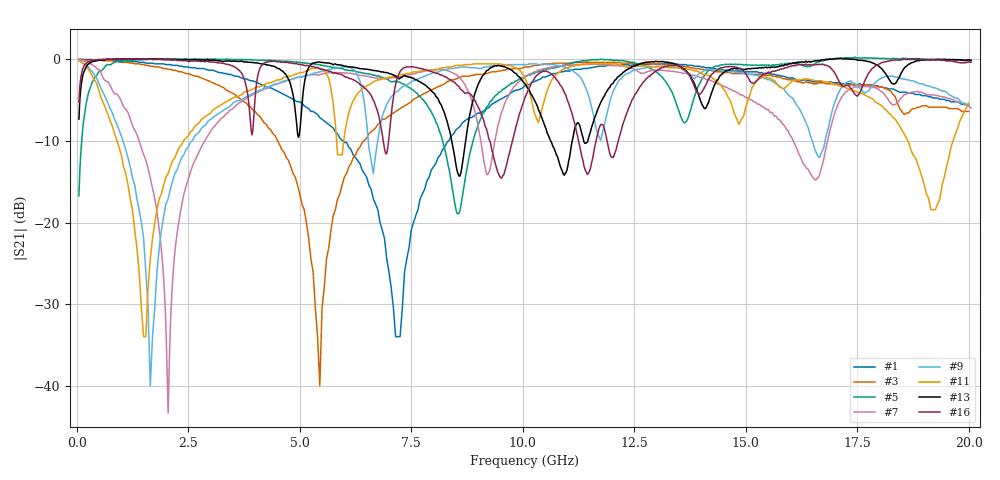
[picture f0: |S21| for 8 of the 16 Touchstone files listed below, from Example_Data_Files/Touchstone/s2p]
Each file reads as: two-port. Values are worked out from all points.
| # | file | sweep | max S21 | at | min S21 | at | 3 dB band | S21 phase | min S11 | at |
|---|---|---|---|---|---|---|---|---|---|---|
| 1 | L-15C2N7_SER.s2p | 50 MHz to 20 GHz | 0.00 dB | 50 MHz | -34.0 dB | 7.15 GHz | 10.2 GHz-17.35 GHz | 20 deg at 10.05 GHz | -40.0 dB | 50 MHz |
| 2 | L-15C3N3_SER.s2p | 50 MHz to 20 GHz | -0.09 dB | 50 MHz | -40.0 dB | 6.45 GHz | 9.65 GHz-18.05 GHz | 14 deg at 10.05 GHz | -40.0 dB | 50 MHz |
| 3 | L-15C3N9_SER.s2p | 50 MHz to 20 GHz | 0.00 dB | 100 MHz | -40.0 dB | 5.45 GHz | 8.25 GHz-17.05 GHz | -3 deg at 10.05 GHz | -40.0 dB | 50 MHz |
| 4 | L-15C4N7_SER.s2p | 50 MHz to 20 GHz | -0.09 dB | 150 MHz | -40.0 dB | 5.35 GHz | 8.65 GHz-15.05 GHz | 2 deg at 10.05 GHz | -40.0 dB | 50 MHz |
| 5 | L-15C12N_SNT.s2p | 50 MHz to 20.05 GHz | 0.27 dB | 17.45 GHz | -18.9 dB | 8.55 GHz | 370 MHz-7.19 GHz | -1 deg at 10.05 GHz | -36.9 dB | 17.57 GHz |
| 6 | L-15C15N_SNT.s2p | 50 MHz to 20 GHz | 0.00 dB | 2.85 GHz | -17.7 dB | 8.55 GHz | 300 MHz-7.55 GHz | -74 deg at 10.05 GHz | -34.0 dB | 2.05 GHz |
| 7 | L-15C18N_SER.s2p | 50 MHz to 20.05 GHz | 0.04 dB | 50 MHz | -43.3 dB | 2.05 GHz | 9.87 GHz-14.35 GHz | 8 deg at 10.05 GHz | -39.6 dB | 11.33 GHz |
| 8 | L-15C18N_SNT.s2p | 50 MHz to 20.05 GHz | 0.22 dB | 14.15 GHz | -17.8 dB | 7.45 GHz | 250 MHz-6.31 GHz | -58 deg at 10.05 GHz | -45.0 dB | 17.97 GHz |
| 9 | L-15C27N_SER.s2p | 50 MHz to 20 GHz | -0.09 dB | 50 MHz | -40.0 dB | 1.65 GHz | 7.45 GHz-11.35 GHz | -17 deg at 10.05 GHz | -30.5 dB | 17.25 GHz |
| 10 | L-15C27N_SNT.s2p | 50 MHz to 20 GHz | 0.00 dB | 1.2 GHz | -14.9 dB | 9.65 GHz | 200 MHz-5.7 GHz | -52 deg at 10.05 GHz | -34.0 dB | 1.4 GHz |
| 11 | L-15C33N_SER.s2p | 50 MHz to 20 GHz | -0.18 dB | 50 MHz | -34.0 dB | 1.5 GHz | 10.6 GHz-14.4 GHz | -36 deg at 10.05 GHz | -30.5 dB | 12.1 GHz |
| 12 | L-15C33N_SNT.s2p | 50 MHz to 20 GHz | 0.00 dB | 900 MHz | -15.4 dB | 8.95 GHz | 150 MHz-5.15 GHz | -87 deg at 10.05 GHz | -34.0 dB | 1.25 GHz |
| 13 | L-15C39N_SNT.s2p | 50 MHz to 20.05 GHz | 0.13 dB | 17.05 GHz | -14.3 dB | 8.59 GHz | 110 MHz-4.77 GHz | -62 deg at 10.05 GHz | -33.3 dB | 1.21 GHz |
| 14 | L-15C47N_SER.s2p | 50 MHz to 20 GHz | -0.26 dB | 50 MHz | -40.0 dB | 1.25 GHz | 8.75 GHz-12 GHz | -8 deg at 10.05 GHz | -28.0 dB | 11.15 GHz |
| 15 | L-15C47N_SNT.s2p | 50 MHz to 20 GHz | 0.00 dB | 600 MHz | -13.6 dB | 10.45 GHz | 150 MHz-4.45 GHz | -123 deg at 10.05 GHz | -34.0 dB | 1 GHz |
| 16 | L-15C56N_SNT.s2p | 50 MHz to 20.05 GHz | 0.08 dB | 1.25 GHz | -14.5 dB | 9.53 GHz | 90 MHz-3.77 GHz | -0 deg at 10.05 GHz | -37.2 dB | 910 MHz |
